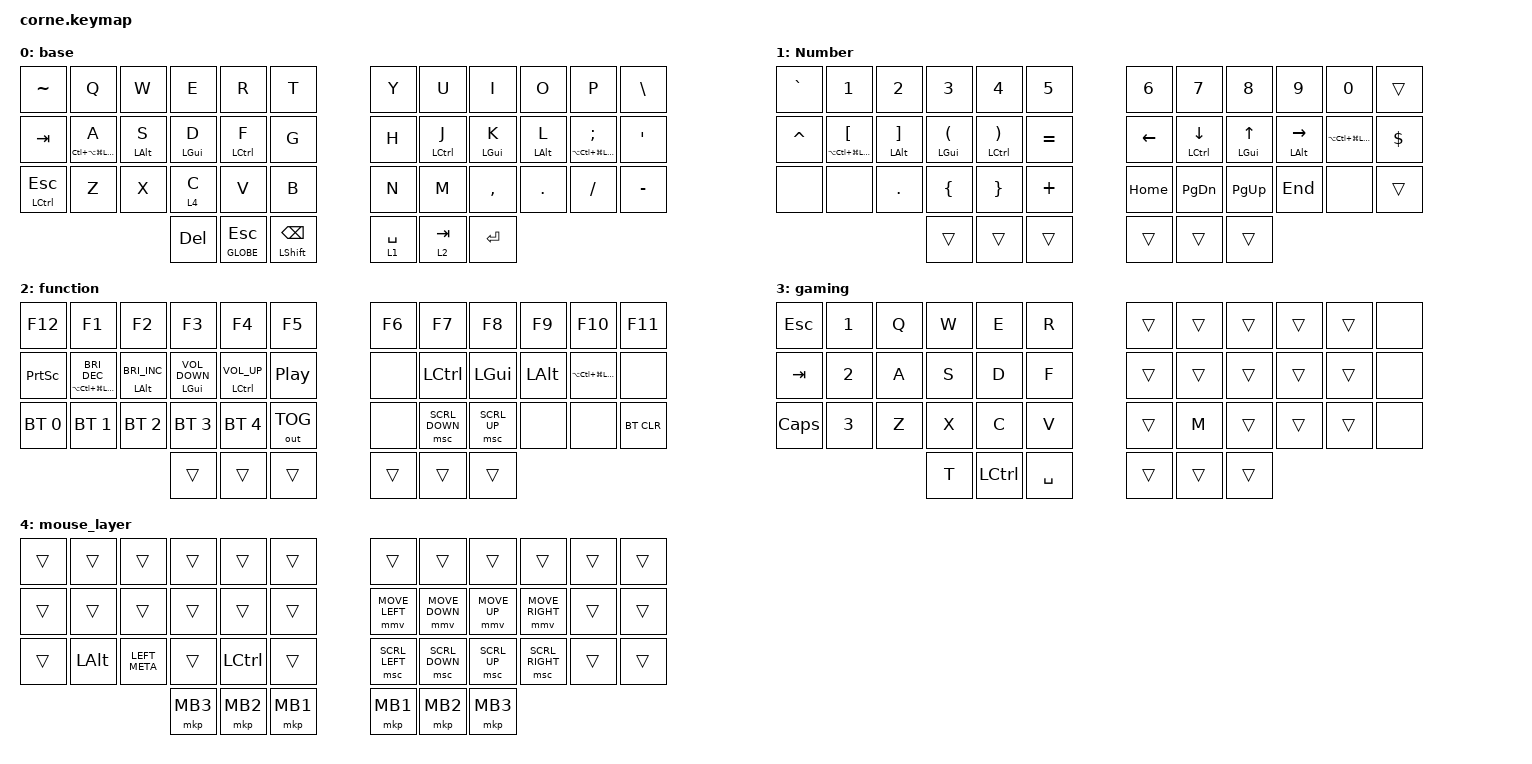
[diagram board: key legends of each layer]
/*
 * Copyright (c) 2020 The ZMK Contributors
 *
 * SPDX-License-Identifier: MIT
 */

#define ZMK_POINTING_DEFAULT_MOVE_VAL 1000  // default: 600
#define ZMK_POINTING_DEFAULT_SCRL_VAL 20    // default: 10

#include <behaviors.dtsi>
#include <dt-bindings/zmk/bt.h>
#include <dt-bindings/zmk/keys.h>
#include <dt-bindings/zmk/outputs.h>
#include <dt-bindings/zmk/pointing.h>

/ {
    behaviors {
        HMRF: HMRF {
            compatible = "zmk,behavior-hold-tap";
            label = "HMRF";
            bindings = <&kp>, <&kp>;

            #binding-cells = <2>;
            tapping-term-ms = <250>;
            flavor = "tap-preferred";
            quick-tap-ms = <200>;
        };

        HMRS: HMRS {
            compatible = "zmk,behavior-hold-tap";
            label = "HMRS";
            bindings = <&kp>, <&kp>;

            #binding-cells = <2>;
            tapping-term-ms = <250>;
            flavor = "tap-preferred";
            quick-tap-ms = <200>;
        };

        LHKPT: LHKPT {
            compatible = "zmk,behavior-hold-tap";
            label = "LHKPT";
            bindings = <&mo>, <&kp>;

            #binding-cells = <2>;
            tapping-term-ms = <250>;
            flavor = "balanced";
            quick-tap-ms = <200>;
        };

        hrmf_mmv: hrmf_mmv {
            compatible = "zmk,behavior-hold-tap";
            label = "HRMF_MMV";
            bindings = <&kp>, <&mmv>;

            #binding-cells = <2>;
            tapping-term-ms = <250>;
            quick-tap-ms = <200>;
            flavor = "tap-preferred";
        };
    };

    combos {
        compatible = "zmk,combos";

        enter_combo {
            bindings = <&kp ENTER>;
            key-positions = <21 20>;
        };

        function_layer {
            bindings = <&tog 3>;
            key-positions = <36 41 38 39>;
        };

        soft_off {
            bindings = <&soft_off>;
            key-positions = <2 26>;
            layers = <2>;
        };

        tab_combo {
            bindings = <&kp TAB>;
            key-positions = <15 16>;
        };

        Escape_combo {
            bindings = <&kp ESC>;
            key-positions = <15 14>;
        };
    };

    macros {
        moonlight_mouse: moonlight_mouse {
            compatible = "zmk,behavior-macro";
            #binding-cells = <0>;
            bindings = <&kp LC(LA(LS(M)))>;
            label = "MOONLIGHT_MOUSE";
        };

        hyper: hyper {
            compatible = "zmk,behavior-macro";
            #binding-cells = <0>;
            bindings = <&kp LEFT_SHIFT &kp LEFT_CONTROL &kp LEFT_ALT &kp LEFT_GUI>;
            label = "HYPER";
        };

        meh: meh {
            compatible = "zmk,behavior-macro";
            #binding-cells = <0>;
            bindings = <&kp LEFT_CONTROL &kp LEFT_SHIFT &kp LEFT_ALT>;
            label = "MEH";
        };
    };

    keymap {
        compatible = "zmk,keymap";

        base {
            // -----------------------------------------------------------------------------------------
            // |  TAB |  Q  |  W  |  E  |  R  |  T  |   |  Y  |  U   |  I  |  O  |  P  | BSPC |
            // | CTRL |  A  |  S  |  D  |  F  |  G  |   |  H  |  J   |  K  |  L  |  ;  |  '   |
            // | SHFT |  Z  |  X  |  C  |  V  |  B  |   |  N  |  M   |  ,  |  .  |  /  | ESC  |
            //                    | GUI | LWR | SPC |   | ENT | RSE  | ALT |

            bindings = <
&kp TILDE                  &kp Q                           &kp W             &kp E             &kp R                 &kp T                         &kp Y           &kp U                 &kp I             &kp O             &kp P                              &kp BSLH
&kp TAB                    &HMRF LC(LA(LG(LEFT_SHIFT))) A  &HMRF LEFT_ALT S  &HMRF LEFT_GUI D  &HMRF LEFT_CONTROL F  &kp G                         &kp H           &HMRF LEFT_CONTROL J  &HMRF LEFT_GUI K  &HMRF LEFT_ALT L  &HMRF LA(LC(LG(LEFT_SHIFT))) SEMI  &kp SQT
&HMRF LEFT_CONTROL ESCAPE  &kp Z                           &kp X             &LHKPT 4 C        &kp V                 &kp B                         &kp N           &kp M                 &kp COMMA         &kp DOT           &kp FSLH                           &kp MINUS
                                                                             &kp DELETE        &HMRS GLOBE ESCAPE    &HMRS LEFT_SHIFT BACKSPACE    &LHKPT 1 SPACE  &LHKPT 2 TAB          &kp ENTER
            >;
        };

        Number {
            // -----------------------------------------------------------------------------------------
            // |  TAB |  1  |  2  |  3  |  4  |  5  |   |  6  |  7  |  8  |  9  |  0  | BSPC |
            // | BTCLR| BT1 | BT2 | BT3 | BT4 | BT5 |   | LFT | DWN |  UP | RGT |     |      |
            // | SHFT |     |     |     |     |     |   |     |     |     |     |     |      |
            //                    | GUI |     | SPC |   | ENT |     | ALT |

            bindings = <
&kp GRAVE  &kp NUMBER_1                               &kp NUMBER_2                  &kp NUMBER_3                     &kp NUMBER_4                          &kp N5       &kp NUMBER_6  &kp N7                   &kp N8             &kp N9                &kp N0                      &trans
&kp CARET  &HMRF LA(LC(LG(LEFT_SHIFT))) LEFT_BRACKET  &HMRF LEFT_ALT RIGHT_BRACKET  &HMRF LEFT_GUI LEFT_PARENTHESIS  &HMRF LEFT_CONTROL RIGHT_PARENTHESIS  &kp EQUAL    &kp LEFT      &HMRF LEFT_CONTROL DOWN  &HMRF LEFT_GUI UP  &HMRF LEFT_ALT RIGHT  &kp LA(LC(LG(LEFT_SHIFT)))  &kp DOLLAR
&none      &none                                      &kp DOT                       &kp LEFT_BRACE                   &kp RIGHT_BRACE                       &kp PLUS     &kp HOME      &kp PAGE_DOWN            &kp PAGE_UP        &kp END               &none                       &trans
                                                                                    &trans                           &trans                                &trans       &trans        &trans                   &trans
            >;
        };

        function {
            // -----------------------------------------------------------------------------------------
            // |  TAB |  !  |  @  |  #  |  $  |  %  |   |  ^  |  &  |  *  |  (  |  )  | BSPC |
            // | CTRL |     |     |     |     |     |   |  -  |  =  |  [  |  ]  |  \  |  `   |
            // | SHFT |     |     |     |     |     |   |  _  |  +  |  {  |  }  | "|" |  ~   |
            //                    | GUI |     | SPC |   | ENT |     | ALT |

            bindings = <
&kp F12          &kp F1                                         &kp F2                           &kp F3                        &kp F4                          &kp F5              &kp F6  &kp F7            &kp F8        &kp F9        &kp F10                     &kp F11
&kp PRINTSCREEN  &HMRF LA(LC(LG(LEFT_SHIFT))) C_BRIGHTNESS_DEC  &HMRF LEFT_ALT C_BRIGHTNESS_INC  &HMRF LEFT_GUI C_VOLUME_DOWN  &HMRF LEFT_CONTROL C_VOLUME_UP  &kp C_PLAY_PAUSE    &none   &kp LEFT_CONTROL  &kp LEFT_GUI  &kp LEFT_ALT  &kp LA(LC(LG(LEFT_SHIFT)))  &none
&bt BT_SEL 0     &bt BT_SEL 1                                   &bt BT_SEL 2                     &bt BT_SEL 3                  &bt BT_SEL 4                    &out OUT_TOG        &none   &msc SCRL_DOWN    &msc SCRL_UP  &none         &none                       &bt BT_CLR
                                                                                                 &trans                        &trans                          &trans              &trans  &trans            &trans
            >;
        };

        gaming {
            bindings = <
&kp ESC   &kp NUMBER_1  &kp Q  &kp W  &kp E             &kp R        &trans  &trans  &trans  &trans  &trans  &none
&kp TAB   &kp NUMBER_2  &kp A  &kp S  &kp D             &kp F        &trans  &trans  &trans  &trans  &trans  &none
&kp CAPS  &kp NUMBER_3  &kp Z  &kp X  &kp C             &kp V        &trans  &kp M   &trans  &trans  &trans  &none
                               &kp T  &kp LEFT_CONTROL  &kp SPACE    &trans  &trans  &trans
            >;
        };

        mouse_layer {
            bindings = <
&trans  &trans        &trans         &trans    &trans            &trans      &trans          &trans          &trans        &trans           &trans  &trans
&trans  &trans        &trans         &trans    &trans            &trans      &mmv MOVE_LEFT  &mmv MOVE_DOWN  &mmv MOVE_UP  &mmv MOVE_RIGHT  &trans  &trans
&trans  &kp LEFT_ALT  &kp LEFT_META  &trans    &kp LEFT_CONTROL  &trans      &msc SCRL_LEFT  &msc SCRL_DOWN  &msc SCRL_UP  &msc SCRL_RIGHT  &trans  &trans
                                     &mkp MB3  &mkp MB2          &mkp MB1    &mkp MB1        &mkp MB2        &mkp MB3
            >;
        };
    };
};
